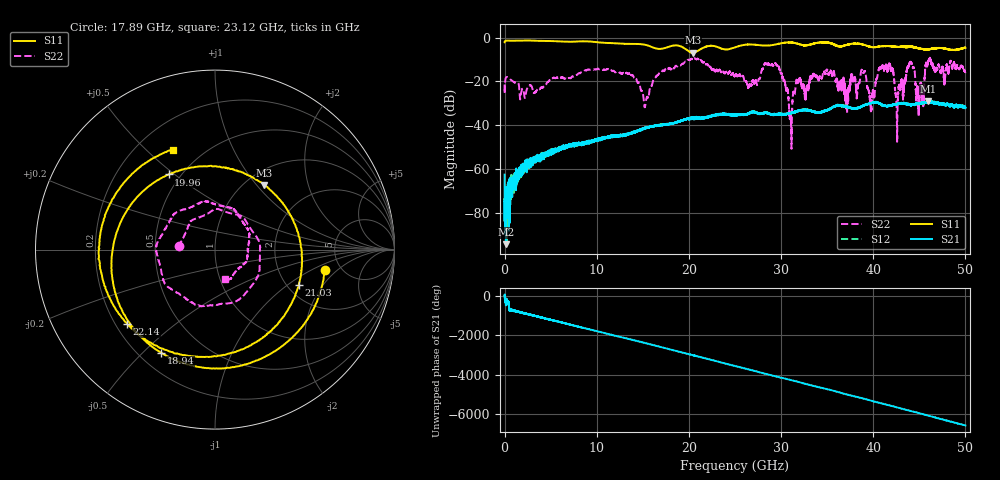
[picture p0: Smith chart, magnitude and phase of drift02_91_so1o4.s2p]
!Created with skrf (http://scikit-rf.org).
# Hz S RI R 50.0
!freq ReS11 ImS11 ReS21 ImS21 ReS12 ImS12 ReS22 ImS22
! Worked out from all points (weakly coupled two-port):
!   10001 points, 300 kHz to 50 GHz, reference 50 ohm
!   highest |S21| = -28.97 dB at 45.98 GHz (marker M1); lowest = -94.3 dB at 140.3 MHz (marker M2)
!   lowest |S11| = -6.9 dB at 20.45 GHz (marker M3), VSWR 2.65, Z = 60.6 + j54.7 ohm
!   |S11| at or under -10 dB: nowhere
!   |S22| runs from -50.8 to -9.2 dB; largest |S21 - S12| = 0.003
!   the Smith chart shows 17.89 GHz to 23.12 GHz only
!   S11 on the Smith chart (normalised r, x): 17.89 GHz: 3.74, -1.40; 18.94 GHz: 0.29, -0.57; 19.96 GHz: 0.43, +0.48; 21.03 GHz: 2.31, -1.21; 22.14 GHz: 0.25, -0.35; 23.12 GHz: 0.35, +0.61
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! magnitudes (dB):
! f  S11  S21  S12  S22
! 300 kHz  -2.1  -62.5  -73.1  -21.4
! 140.3 MHz  -1.5  -94.3  -72.7  -18.3
! 8.335 GHz  -1.7  -48.1  -48.4  -15.7
! 15.33 GHz  -3.4  -41.2  -41.2  -29.2
! 16.67 GHz  -5.2  -40.1  -39.9  -17.0
! 17.89 GHz  -4.1  -39.4  -39.5  -13.9
! 18.94 GHz  -3.8  -38.4  -38.3  -12.5
! 19.96 GHz  -6.2  -37.1  -36.9  -10.1
! 20.45 GHz  -6.9  -36.8  -36.7  -10.0
! 21.03 GHz  -5.9  -36.6  -36.6  -9.9
! 22.14 GHz  -3.9  -36.2  -36.5  -13.0
! 23.12 GHz  -4.4  -35.2  -35.0  -15.4
! 25 GHz  -4.5  -35.3  -35.4  -17.6
! 29.52 GHz  -3.1  -34.9  -35.1  -12.5
! 31.03 GHz  -2.2  -34.5  -34.7  -36.2
! 33.34 GHz  -3.0  -33.6  -33.6  -17.9
! 38.92 GHz  -3.2  -31.1  -31.1  -16.1
! 39.88 GHz  -4.4  -29.9  -29.7  -27.4
! 41.67 GHz  -3.9  -31.0  -31.1  -12.8
! 42.62 GHz  -4.3  -30.2  -30.2  -35.2
! 45.98 GHz  -5.4  -29.0  -29.2  -10.3
! 50 GHz  -4.7  -32.1  -31.8  -16.0
